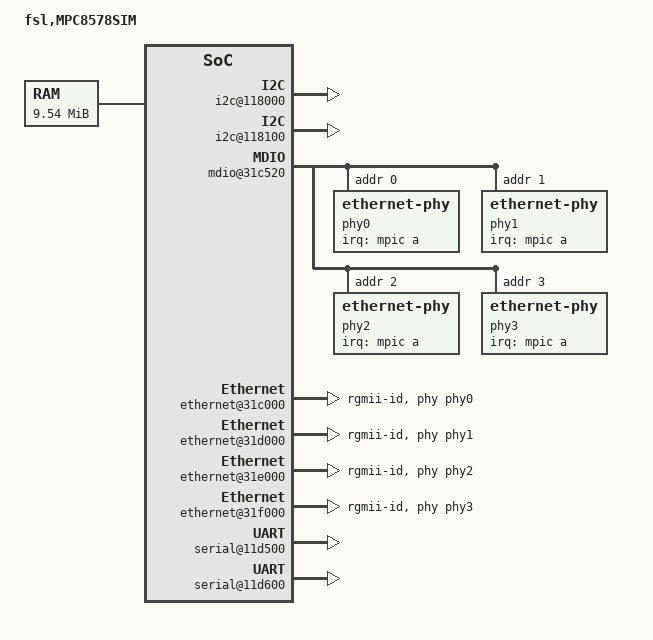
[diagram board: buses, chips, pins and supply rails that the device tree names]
/*
 * MPC8578 Simulator Device Tree Source
 *
 * Copyright 2007 Freescale Semiconductor Inc.
 *
 * This program is free software; you can redistribute  it and/or modify it
 * under  the terms of  the GNU General  Public License as published by the
 * Free Software Foundation;  either version 2 of the  License, or (at your
 * option) any later version.
 */

/ {
	model = "fsl,MPC8578SIM";
	compatible = "fsl,MPC8578SIM";
	#address-cells = <1>;
	#size-cells = <1>;

	chosen {
		linux,stdout-path = "/soc@fe000000/serial@11d500";
		bootargs = "console=ttyS0,115200 simicsfs=0xeff00000";
		linux,initrd-start = <01300000>;
		linux,initrd-end = <013ca000>;
	};

	aliases {
		ethernet0 = "/soc@fe000000/ethernet@31c000";
		ethernet1 = "/soc@fe000000/ethernet@31d000";
		ethernet2 = "/soc@fe000000/ethernet@31e000";
		ethernet3 = "/soc@fe000000/ethernet@31f000";
		serial0 = "/soc@fe000000/serial@11c500";
		serial1 = "/soc@fe000000/serial@11c600";
		serial2 = "/soc@fe000000/serial@11d500";
		serial3 = "/soc@fe000000/serial@11d600";
	};

	cpus {
		#address-cells = <1>;
		#size-cells = <0>;

		cpu@0 {
			device_type = "cpu";
			compatible = "fsl,e500mc", "fsl,e500";
			reg = <0>;
			d-cache-line-size = <20>;
			i-cache-line-size = <20>;
			d-cache-size = <8000>;
			i-cache-size = <8000>;
			timebase-frequency = <d#83333333>;
			bus-frequency = <d#666666666>;
			clock-frequency = <d#666666666>;
		};

		cpu@1 {
			device_type = "cpu";
			compatible = "fsl,e500mc", "fsl,e500";
			reg = <1>;
			d-cache-line-size = <20>;
			i-cache-line-size = <20>;
			d-cache-size = <8000>;
			i-cache-size = <8000>;
			timebase-frequency = <d#83333333>;
			bus-frequency = <d#666666666>;
			clock-frequency = <d#666666666>;
		};
	};

	memory {
		device_type = "memory";
		reg = <0 10000000>;
	};

	soc@fe000000 {
		#address-cells = <1>;
		#size-cells = <1>;
		device_type = "soc";
		ranges = <0 fe000000 400000>;
		reg = <fe000000 1000>;
		bus-frequency = <d#666666666>;

		memory-controller@8000 {
			compatible = "fsl,mpc8578-memory-controller";
			reg = <8000 1000>;
			interrupt-parent = <&mpic>;
			interrupts = <12 2>;
		};

		memory-controller@9000 {
			compatible = "fsl,mpc8578-memory-controller";
			reg = <9000 1000>;
			interrupt-parent = <&mpic>;
			interrupts = <12 2>;
		};

		i2c@118000 {
			device_type = "i2c";
			compatible = "fsl-i2c";
			reg = <118000 100>;
			interrupts = <1e 2>;
			interrupt-parent = <&mpic>;
			dfsrr;
		};

		i2c@118100 {
			device_type = "i2c";
			compatible = "fsl-i2c";
			reg = <118100 100>;
			interrupts = <1e 2>;
			interrupt-parent = <&mpic>;
			dfsrr;
		};

		mdio@31c520 {
			#address-cells = <1>;
			#size-cells = <0>;
			device_type = "mdio";
			compatible = "gianfar";
			reg = <31c520 20>;
			phy0: ethernet-phy@0 {
				interrupt-parent = <&mpic>;
				interrupts = <a 1>;
				reg = <0>;
			};
			phy1: ethernet-phy@1 {
				interrupt-parent = <&mpic>;
				interrupts = <a 1>;
				reg = <1>;
			};
			phy2: ethernet-phy@2 {
				interrupt-parent = <&mpic>;
				interrupts = <a 1>;
				reg = <2>;
			};
			phy3: ethernet-phy@3 {
				interrupt-parent = <&mpic>;
				interrupts = <a 1>;
				reg = <3>;
			};
		};

		ethernet@31c000 {
			#address-cells = <1>;
			#size-cells = <0>;
			device_type = "network";
			model = "eTSEC";
			compatible = "gianfar";
			reg = <31c000 1000>;
			local-mac-address = [ 00 00 00 00 00 00 ];
			interrupts = <1d 2 1e 2 22 2>;
			interrupt-parent = <&mpic>;
			phy-handle = <&phy0>;
			phy-connection-type = "rgmii-id";
		};

		ethernet@31d000 {
			#address-cells = <1>;
			#size-cells = <0>;
			device_type = "network";
			model = "eTSEC";
			compatible = "gianfar";
			reg = <31d000 1000>;
			local-mac-address = [ 00 00 00 00 00 00 ];
			interrupts = <23 2 24 2 28 2>;
			interrupt-parent = <&mpic>;
			phy-handle = <&phy1>;
			phy-connection-type = "rgmii-id";
		};

		ethernet@31e000 {
			#address-cells = <1>;
			#size-cells = <0>;
			device_type = "network";
			model = "eTSEC";
			compatible = "gianfar";
			reg = <31e000 1000>;
			local-mac-address = [ 00 00 00 00 00 00 ];
			interrupts = <1f 2 20 2 21 2>;
			interrupt-parent = <&mpic>;
			phy-handle = <&phy2>;
			phy-connection-type = "rgmii-id";
		};

		ethernet@31f000 {
			#address-cells = <1>;
			#size-cells = <0>;
			device_type = "network";
			model = "eTSEC";
			compatible = "gianfar";
			reg = <31f000 1000>;
			local-mac-address = [ 00 00 00 00 00 00 ];
			interrupts = <25 2 26 2 27 2>;
			interrupt-parent = <&mpic>;
			phy-handle = <&phy3>;
			phy-connection-type = "rgmii-id";
		};

		serial@11d500 {
			device_type = "serial";
			compatible = "ns16550";
			reg = <11d500 100>;
			clock-frequency = <0>;
			interrupts = <1d 2>;
			interrupt-parent = <&mpic>;
		};

		serial@11d600 {
			device_type = "serial";
			compatible = "ns16550";
			reg = <11d600 100>;
			clock-frequency = <0>;
			interrupts = <1d 2>;
			interrupt-parent = <&mpic>;
		};

		global-utilities@e0000 {	//global utilities block
			compatible = "fsl,mpc8572-guts";
			reg = <e0000 1000>;
			fsl,has-rstcr;
		};

		mpic: pic@40000 {
			clock-frequency = <0>;
			interrupt-controller;
			#address-cells = <0>;
			#interrupt-cells = <2>;
			reg = <40000 40000>;
			compatible = "chrp,open-pic";
			device_type = "open-pic";
			big-endian;
		};
	};
};
